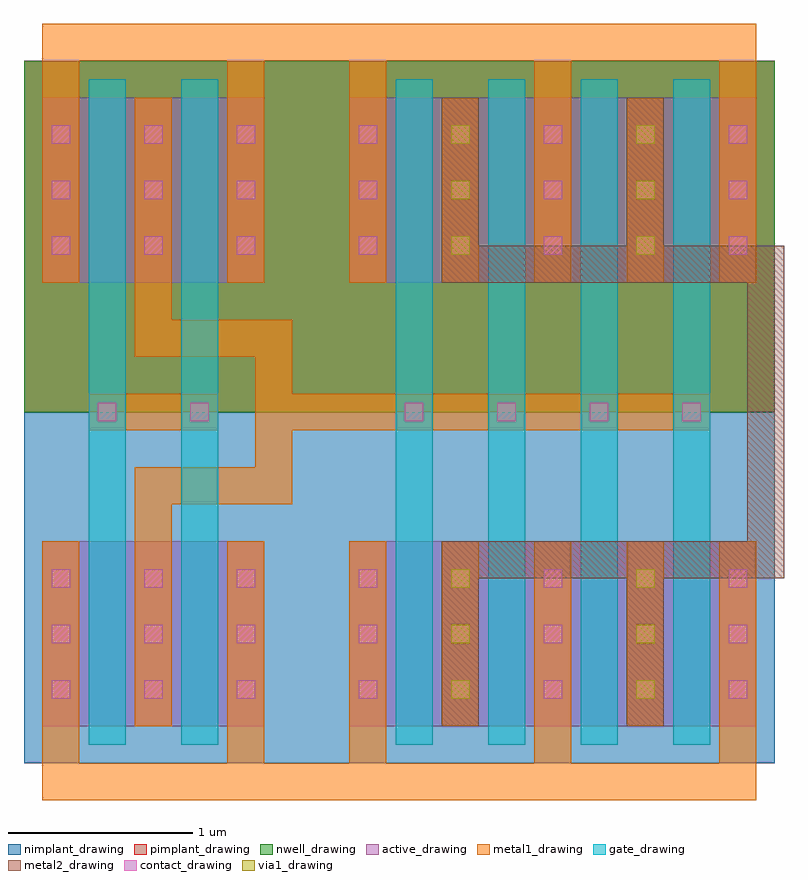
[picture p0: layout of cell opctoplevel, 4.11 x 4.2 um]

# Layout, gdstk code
import gdstk
lib = gdstk.Library(unit=1e-6, precision=1e-09)
def R(c, l, rs):  # rectangles x0, y0, x1, y1
    for r in rs: c.add(gdstk.rectangle(r[:2], r[2:], *l))
def A(c, l, x, y, w, h, nx, ny, dx, dy):  # array of equal rectangles
    R(c, l, [(x+i*dx, y+j*dy, x+i*dx+w, y+j*dy+h) for i in range(nx) for j in range(ny)])
active_drawing = (1, 0)
nwell_drawing = (3, 0)
pimplant_drawing = (4, 0)
nimplant_drawing = (5, 0)
gate_drawing = (6, 0)
contact_drawing = (7, 0)
metal1_drawing = (8, 0)
via1_drawing = (9, 0)
metal2_drawing = (10, 0)

opctoplevel = lib.new_cell('opctoplevel')
A(opctoplevel, active_drawing, 1.41, 0, 0.7, 1, 4, 2, 0.5, 2.4)
R(opctoplevel, active_drawing, [(-0.25,0,0.45,1), (0.25,0,0.95,1), (-0.25,2.4,0.45,3.4), (0.25,2.4,0.95,3.4)])
A(opctoplevel, nwell_drawing, 1.08, 1.7, 1.13, 1.9, 4, 1, 0.5, 0)
R(opctoplevel, nwell_drawing, [(-0.35,1.7,0.78,3.6), (-0.35,1.7,3.71,3.6), (0.15,1.7,1.28,3.6)])
A(opctoplevel, pimplant_drawing, 1.08, 1.7, 1.13, 1.9, 4, 1, 0.5, 0)
R(opctoplevel, pimplant_drawing, [(-0.35,1.7,0.78,3.6), (-0.35,1.7,3.71,3.6), (0.15,1.7,1.28,3.6)])
A(opctoplevel, nimplant_drawing, 1.08, -0.2, 1.13, 1.9, 4, 1, 0.5, 0)
R(opctoplevel, nimplant_drawing, [(-0.35,-0.2,0.78,1.7), (-0.35,-0.2,3.71,1.7), (0.15,-0.2,1.28,1.7)])
A(opctoplevel, gate_drawing, 1.66, -0.1, 0.2, 1.9, 4, 1, 0.5, 0)
A(opctoplevel, gate_drawing, 1.66, 1.7, 0.2, 1.8, 4, 1, 0.5, 0)
R(opctoplevel, gate_drawing, [(0,-0.1,0.2,1.8), (0.5,-0.1,0.7,1.8), (0,1.7,0.2,3.5), (0.5,1.7,0.7,3.5)])
A(opctoplevel, contact_drawing, -0.2, 0.15, 0.1, 0.1, 3, 3, 0.5, 0.3)
A(opctoplevel, contact_drawing, 1.46, 0.15, 0.1, 0.1, 5, 3, 0.5, 0.3)
A(opctoplevel, contact_drawing, 1.71, 1.65, 0.1, 0.1, 4, 1, 0.5, 0)
A(opctoplevel, contact_drawing, -0.2, 2.55, 0.1, 0.1, 3, 3, 0.5, 0.3)
A(opctoplevel, contact_drawing, 1.46, 2.55, 0.1, 0.1, 5, 3, 0.5, 0.3)
R(opctoplevel, contact_drawing, [(0.05,1.65,0.15,1.75), (0.55,1.65,0.65,1.75)])
A(opctoplevel, metal1_drawing, 1.41, -0.2, 0.2, 0.2, 3, 2, 1, 3.6)
A(opctoplevel, metal1_drawing, -0.25, 0, 0.2, 1, 3, 2, 0.5, 2.4)
A(opctoplevel, metal1_drawing, 1.41, 0, 0.2, 1, 5, 2, 0.5, 2.4)
A(opctoplevel, metal1_drawing, 1.66, 1.6, 0.2, 0.2, 4, 1, 0.5, 0)
R(opctoplevel, metal1_drawing, [(-0.25,-0.4,0.95,-0.2), (-0.25,-0.4,3.61,-0.2), (1.41,-0.4,3.61,-0.2), (-0.25,-0.2,-0.05,0), (0.75,-0.2,0.95,0), (0.25,1,0.45,1.4), (0,1.6,0.2,1.8), (0,1.6,0.7,1.8), (0.5,1.6,0.7,1.8), (1.1,1.6,1.66,1.8), (1.66,1.6,3.36,1.8), (0.25,2,0.45,2.4), (-0.25,3.4,-0.05,3.6), (0.75,3.4,0.95,3.6), (-0.25,3.6,0.95,3.8), (-0.25,3.6,3.61,3.8), (1.41,3.6,3.61,3.8)])
A(opctoplevel, via1_drawing, 1.96, 0.15, 0.1, 0.1, 1, 3, 0, 0.3)
A(opctoplevel, via1_drawing, 2.96, 0.15, 0.1, 0.1, 1, 3, 0, 0.3)
A(opctoplevel, via1_drawing, 1.96, 2.55, 0.1, 0.1, 1, 3, 0, 0.3)
A(opctoplevel, via1_drawing, 2.96, 2.55, 0.1, 0.1, 1, 3, 0, 0.3)
R(opctoplevel, metal2_drawing, [(1.91,0,2.11,1), (2.91,0,3.11,1), (1.91,2.4,2.11,3.4), (2.91,2.4,3.11,3.4)])
opctoplevel.add(gdstk.FlexPath([(0.45,2.1),(1,2.1),(1,1.3),(0.45,1.3)], 0.2, ends="flush", simple_path=True, layer=8, datatype=0))  # metal1_drawing
opctoplevel.add(gdstk.FlexPath([(2.11,2.5),(3.66,2.5),(3.66,0.9),(2.11,0.9)], 0.2, ends="flush", simple_path=True, layer=10, datatype=0))  # metal2_drawing

lib.write_gds('opctoplevel.gds')
